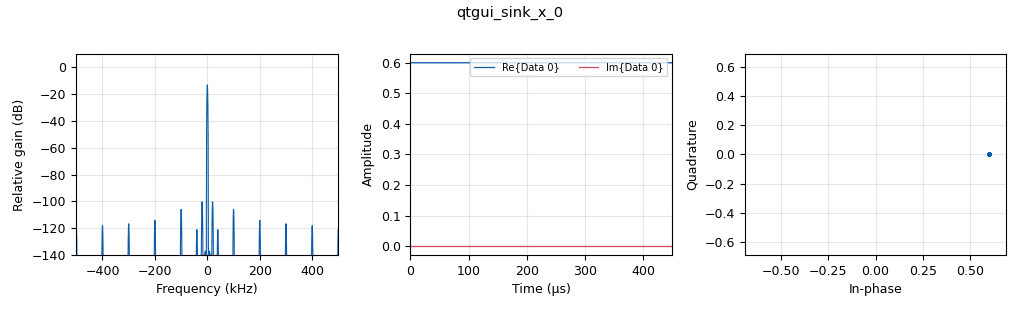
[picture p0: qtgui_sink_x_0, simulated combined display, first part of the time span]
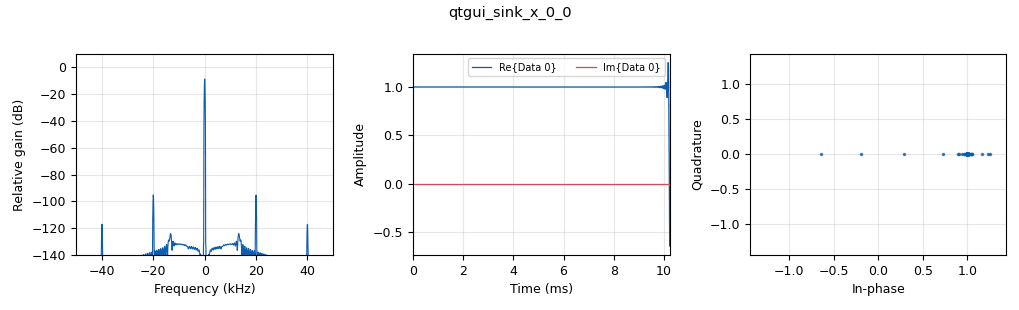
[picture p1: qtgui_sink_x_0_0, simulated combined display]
<?xml version='1.0' encoding='utf-8'?>
<?grc format='1' created='3.7.10'?>
<flow_graph>
<block>
<key>options</key>
<param><key>id</key><value>OverCable_Block</value></param>
<param><key>generate_options</key><value>qt_gui</value></param>
</block>
<block>
<key>variable</key>
<param><key>id</key><value>BB_samp_rate</value></param>
<param><key>value</key><value>100e3</value></param>
</block>
<block>
<key>variable</key>
<param><key>id</key><value>RF_samp_rate</value></param>
<param><key>value</key><value>1000e3</value></param>
</block>
<block>
<key>variable</key>
<param><key>id</key><value>baud_rate</value></param>
<param><key>value</key><value>20e3</value></param>
</block>
<block>
<key>variable</key>
<param><key>id</key><value>bb_bw</value></param>
<param><key>value</key><value>13e3</value></param>
</block>
<block>
<key>variable</key>
<param><key>id</key><value>const_points</value></param>
<param><key>value</key><value>2</value></param>
</block>
<block>
<key>variable</key>
<param><key>id</key><value>rf_bw</value></param>
<param><key>value</key><value>5e6</value></param>
</block>
<block>
<key>variable</key>
<param><key>id</key><value>rf_freq</value></param>
<param><key>value</key><value>1.630e9</value></param>
</block>
<block>
<key>variable</key>
<param><key>id</key><value>sps</value></param>
<param><key>value</key><value>int(BB_samp_rate/baud_rate)</value></param>
</block>
<block>
<key>Senior_Design_Preamble_Detection_py_bb</key>
<param><key>id</key><value>Senior_Design_Preamble_Detection_py_bb_0</value></param>
<param><key>Debug</key><value>True</value></param>
<param><key>Preamble</key><value>5</value></param>
</block>
<block>
<key>analog_random_uniform_source_x</key>
<param><key>id</key><value>analog_random_uniform_source_x_0</value></param>
<param><key>_enabled</key><value>0</value></param>
<param><key>maximum</key><value>256</value></param>
<param><key>minimum</key><value>0</value></param>
<param><key>type</key><value>byte</value></param>
<param><key>seed</key><value>41</value></param>
</block>
<block>
<key>analog_sig_source_x</key>
<param><key>id</key><value>analog_sig_source_x_0</value></param>
<param><key>amp</key><value>10</value></param>
<param><key>_enabled</key><value>0</value></param>
<param><key>freq</key><value>1000</value></param>
<param><key>offset</key><value>0</value></param>
<param><key>type</key><value>float</value></param>
<param><key>samp_rate</key><value>BB_samp_rate</value></param>
<param><key>waveform</key><value>analog.GR_COS_WAVE</value></param>
</block>
<block>
<key>blocks_char_to_float</key>
<param><key>id</key><value>blocks_char_to_float_0</value></param>
<param><key>_enabled</key><value>0</value></param>
<param><key>scale</key><value>1</value></param>
</block>
<block>
<key>blocks_char_to_float</key>
<param><key>id</key><value>blocks_char_to_float_0_0</value></param>
<param><key>_enabled</key><value>0</value></param>
<param><key>scale</key><value>1</value></param>
</block>
<block>
<key>blocks_char_to_float</key>
<param><key>id</key><value>blocks_char_to_float_1</value></param>
<param><key>_enabled</key><value>0</value></param>
<param><key>scale</key><value>1</value></param>
</block>
<block>
<key>blocks_file_sink</key>
<param><key>id</key><value>blocks_file_sink_0</value></param>
<param><key>file</key><value>/home/odroid/Desktop/WilliamsWork/qpsk_outputdata</value></param>
<param><key>type</key><value>byte</value></param>
</block>
<block>
<key>blocks_float_to_char</key>
<param><key>id</key><value>blocks_float_to_char_0</value></param>
<param><key>_enabled</key><value>0</value></param>
<param><key>scale</key><value>1</value></param>
</block>
<block>
<key>blocks_multiply_const_vxx</key>
<param><key>id</key><value>blocks_multiply_const_vxx_0_0_0</value></param>
<param><key>const</key><value>.6</value></param>
<param><key>type</key><value>complex</value></param>
</block>
<block>
<key>blocks_null_sink</key>
<param><key>id</key><value>blocks_null_sink_0</value></param>
<param><key>bus_conns</key><value>[[0,],]</value></param>
<param><key>_enabled</key><value>0</value></param>
<param><key>type</key><value>byte</value></param>
</block>
<block>
<key>blocks_pack_k_bits_bb</key>
<param><key>id</key><value>blocks_pack_k_bits_bb_0</value></param>
<param><key>_enabled</key><value>0</value></param>
<param><key>k</key><value>8</value></param>
</block>
<block>
<key>blocks_skiphead</key>
<param><key>id</key><value>blocks_skiphead_0</value></param>
<param><key>_enabled</key><value>0</value></param>
<param><key>num_items</key><value>7</value></param>
<param><key>type</key><value>byte</value></param>
</block>
<block>
<key>blocks_throttle</key>
<param><key>id</key><value>blocks_throttle_0</value></param>
<param><key>samples_per_second</key><value>RF_samp_rate</value></param>
<param><key>type</key><value>complex</value></param>
</block>
<block>
<key>blocks_udp_sink</key>
<param><key>id</key><value>blocks_udp_sink_0</value></param>
<param><key>ipaddr</key><value>127.0.0.1</value></param>
<param><key>port</key><value>20202</value></param>
<param><key>_enabled</key><value>0</value></param>
<param><key>type</key><value>byte</value></param>
<param><key>psize</key><value>1472</value></param>
<param><key>eof</key><value>True</value></param>
<param><key>vlen</key><value>1</value></param>
</block>
<block>
<key>blocks_udp_source</key>
<param><key>id</key><value>blocks_udp_source_0</value></param>
<param><key>_enabled</key><value>0</value></param>
<param><key>ipaddr</key><value>127.0.0.1</value></param>
<param><key>eof</key><value>False</value></param>
<param><key>type</key><value>byte</value></param>
<param><key>psize</key><value>1472</value></param>
<param><key>port</key><value>65000</value></param>
<param><key>vlen</key><value>1</value></param>
</block>
<block>
<key>blocks_vector_source_x</key>
<param><key>id</key><value>blocks_vector_source_x_0</value></param>
<param><key>type</key><value>byte</value></param>
<param><key>repeat</key><value>True</value></param>
<param><key>vector</key><value>(0,0,0,0,5,0,0,0,4,5,5,7,8,6,5,0,0,0,7,6,5,0,0,0,4,1,31,2,3,4,5,0,0,0,6,7,8,9,0,0,0,0,0,0,0,0,0,0,0,0,0,0,0,0,0,0,0,0,0,0,0,0,0,0)</value></param>
</block>
<block>
<key>correctiq_correctiq</key>
<param><key>id</key><value>correctiq_correctiq_0</value></param>
</block>
<block>
<key>digital_psk_demod</key>
<param><key>id</key><value>digital_psk_demod_0_0_0</value></param>
<param><key>differential</key><value>True</value></param>
<param><key>excess_bw</key><value>0.35</value></param>
<param><key>freq_bw</key><value>6.28/100.0</value></param>
<param><key>mod_code</key><value>"gray"</value></param>
<param><key>constellation_points</key><value>const_points</value></param>
<param><key>phase_bw</key><value>6.28/100.0</value></param>
<param><key>samples_per_symbol</key><value>sps</value></param>
<param><key>timing_bw</key><value>6.28/100.0</value></param>
</block>
<block>
<key>digital_psk_mod</key>
<param><key>id</key><value>digital_psk_mod_0_0_0</value></param>
<param><key>differential</key><value>True</value></param>
<param><key>excess_bw</key><value>0.35</value></param>
<param><key>mod_code</key><value>"gray"</value></param>
<param><key>constellation_points</key><value>const_points</value></param>
<param><key>samples_per_symbol</key><value>sps</value></param>
</block>
<block>
<key>osmosdr_sink</key>
<param><key>id</key><value>osmosdr_sink_0</value></param>
<param><key>ant0</key><value>BAND1</value></param>
<param><key>bb_gain0</key><value>30</value></param>
<param><key>bw0</key><value>rf_bw</value></param>
<param><key>freq0</key><value>rf_freq</value></param>
<param><key>if_gain0</key><value>30</value></param>
<param><key>gain0</key><value>-30</value></param>
<param><key>args</key><value>soapy=0,driver=lime,serial=0009070105C62E09</value></param>
<param><key>_enabled</key><value>0</value></param>
<param><key>type</key><value>fc32</value></param>
<param><key>sample_rate</key><value>RF_samp_rate</value></param>
<param><key>sync</key><value></value></param>
</block>
<block>
<key>osmosdr_source</key>
<param><key>id</key><value>osmosdr_source_0</value></param>
<param><key>ant0</key><value>LNAW</value></param>
<param><key>bb_gain0</key><value>10</value></param>
<param><key>bw0</key><value>rf_bw</value></param>
<param><key>freq0</key><value>rf_freq</value></param>
<param><key>gain_mode0</key><value>False</value></param>
<param><key>if_gain0</key><value>10</value></param>
<param><key>gain0</key><value>0</value></param>
<param><key>args</key><value>soapy=0,driver=lime,serial=0009061C02CF232D</value></param>
<param><key>_enabled</key><value>0</value></param>
<param><key>type</key><value>fc32</value></param>
<param><key>sample_rate</key><value>RF_samp_rate</value></param>
<param><key>sync</key><value></value></param>
</block>
<block>
<key>practice_tester_py_bb</key>
<param><key>id</key><value>practice_tester_py_bb_0</value></param>
<param><key>_enabled</key><value>0</value></param>
<param><key>multiple</key><value>5</value></param>
</block>
<block>
<key>qtgui_sink_x</key>
<param><key>id</key><value>qtgui_sink_x_0</value></param>
<param><key>bw</key><value>RF_samp_rate</value></param>
<param><key>fc</key><value>0</value></param>
<param><key>freqchangevar</key><value>None</value></param>
<param><key>fftsize</key><value>1024</value></param>
<param><key>showports</key><value>True</value></param>
<param><key>type</key><value>complex</value></param>
<param><key>wintype</key><value>firdes.WIN_BLACKMAN_hARRIS</value></param>
</block>
<block>
<key>qtgui_sink_x</key>
<param><key>id</key><value>qtgui_sink_x_0_0</value></param>
<param><key>bw</key><value>BB_samp_rate</value></param>
<param><key>fc</key><value>0</value></param>
<param><key>freqchangevar</key><value>None</value></param>
<param><key>fftsize</key><value>1024</value></param>
<param><key>showports</key><value>True</value></param>
<param><key>type</key><value>complex</value></param>
<param><key>wintype</key><value>firdes.WIN_BLACKMAN_hARRIS</value></param>
</block>
<block>
<key>qtgui_sink_x</key>
<param><key>id</key><value>qtgui_sink_x_0_0_0</value></param>
<param><key>bw</key><value>BB_samp_rate</value></param>
<param><key>fc</key><value>0</value></param>
<param><key>freqchangevar</key><value>None</value></param>
<param><key>_enabled</key><value>0</value></param>
<param><key>fftsize</key><value>1024</value></param>
<param><key>showports</key><value>True</value></param>
<param><key>type</key><value>complex</value></param>
<param><key>wintype</key><value>firdes.WIN_BLACKMAN_hARRIS</value></param>
</block>
<block>
<key>qtgui_time_sink_x</key>
<param><key>id</key><value>qtgui_time_sink_x_0</value></param>
<param><key>autoscale</key><value>True</value></param>
<param><key>_enabled</key><value>0</value></param>
<param><key>color1</key><value>"blue"</value></param>
<param><key>label1</key><value></value></param>
<param><key>size</key><value>1024</value></param>
<param><key>srate</key><value>BB_samp_rate</value></param>
<param><key>type</key><value>float</value></param>
</block>
<block>
<key>qtgui_time_sink_x</key>
<param><key>id</key><value>qtgui_time_sink_x_0_0</value></param>
<param><key>autoscale</key><value>True</value></param>
<param><key>_enabled</key><value>0</value></param>
<param><key>color1</key><value>"blue"</value></param>
<param><key>label1</key><value></value></param>
<param><key>size</key><value>1024</value></param>
<param><key>srate</key><value>BB_samp_rate</value></param>
<param><key>type</key><value>float</value></param>
</block>
<block>
<key>qtgui_time_sink_x</key>
<param><key>id</key><value>qtgui_time_sink_x_1</value></param>
<param><key>_enabled</key><value>0</value></param>
<param><key>color1</key><value>"blue"</value></param>
<param><key>label1</key><value></value></param>
<param><key>size</key><value>1024</value></param>
<param><key>srate</key><value>BB_samp_rate</value></param>
<param><key>type</key><value>float</value></param>
</block>
<block>
<key>rational_resampler_xxx</key>
<param><key>id</key><value>rational_resampler_xxx_0</value></param>
<param><key>decim</key><value>1</value></param>
<param><key>interp</key><value>int(RF_samp_rate/BB_samp_rate)</value></param>
<param><key>taps</key><value></value></param>
<param><key>type</key><value>ccc</value></param>
</block>
<block>
<key>rational_resampler_xxx</key>
<param><key>id</key><value>rational_resampler_xxx_0_0</value></param>
<param><key>decim</key><value>int(RF_samp_rate/BB_samp_rate)</value></param>
<param><key>interp</key><value>1</value></param>
<param><key>taps</key><value></value></param>
<param><key>type</key><value>ccc</value></param>
</block>
<connection><source_block_id>Senior_Design_Preamble_Detection_py_bb_0</source_block_id><sink_block_id>blocks_file_sink_0</sink_block_id><source_key>0</source_key><sink_key>0</sink_key></connection>
<connection><source_block_id>analog_random_uniform_source_x_0</source_block_id><sink_block_id>digital_psk_mod_0_0_0</sink_block_id><source_key>0</source_key><sink_key>0</sink_key></connection>
<connection><source_block_id>analog_sig_source_x_0</source_block_id><sink_block_id>blocks_float_to_char_0</sink_block_id><source_key>0</source_key><sink_key>0</sink_key></connection>
<connection><source_block_id>blocks_char_to_float_0</source_block_id><sink_block_id>qtgui_time_sink_x_0</sink_block_id><source_key>0</source_key><sink_key>0</sink_key></connection>
<connection><source_block_id>blocks_char_to_float_0_0</source_block_id><sink_block_id>qtgui_time_sink_x_1</sink_block_id><source_key>0</source_key><sink_key>0</sink_key></connection>
<connection><source_block_id>blocks_char_to_float_1</source_block_id><sink_block_id>qtgui_time_sink_x_0_0</sink_block_id><source_key>0</source_key><sink_key>0</sink_key></connection>
<connection><source_block_id>blocks_float_to_char_0</source_block_id><sink_block_id>blocks_char_to_float_1</sink_block_id><source_key>0</source_key><sink_key>0</sink_key></connection>
<connection><source_block_id>blocks_float_to_char_0</source_block_id><sink_block_id>digital_psk_mod_0_0_0</sink_block_id><source_key>0</source_key><sink_key>0</sink_key></connection>
<connection><source_block_id>blocks_multiply_const_vxx_0_0_0</source_block_id><sink_block_id>blocks_throttle_0</sink_block_id><source_key>0</source_key><sink_key>0</sink_key></connection>
<connection><source_block_id>blocks_multiply_const_vxx_0_0_0</source_block_id><sink_block_id>osmosdr_sink_0</sink_block_id><source_key>0</source_key><sink_key>0</sink_key></connection>
<connection><source_block_id>blocks_multiply_const_vxx_0_0_0</source_block_id><sink_block_id>qtgui_sink_x_0</sink_block_id><source_key>0</source_key><sink_key>0</sink_key></connection>
<connection><source_block_id>blocks_pack_k_bits_bb_0</source_block_id><sink_block_id>blocks_char_to_float_0</sink_block_id><source_key>0</source_key><sink_key>0</sink_key></connection>
<connection><source_block_id>blocks_skiphead_0</source_block_id><sink_block_id>blocks_pack_k_bits_bb_0</sink_block_id><source_key>0</source_key><sink_key>0</sink_key></connection>
<connection><source_block_id>blocks_throttle_0</source_block_id><sink_block_id>correctiq_correctiq_0</sink_block_id><source_key>0</source_key><sink_key>0</sink_key></connection>
<connection><source_block_id>blocks_vector_source_x_0</source_block_id><sink_block_id>digital_psk_mod_0_0_0</sink_block_id><source_key>0</source_key><sink_key>0</sink_key></connection>
<connection><source_block_id>correctiq_correctiq_0</source_block_id><sink_block_id>rational_resampler_xxx_0_0</sink_block_id><source_key>0</source_key><sink_key>0</sink_key></connection>
<connection><source_block_id>digital_psk_demod_0_0_0</source_block_id><sink_block_id>Senior_Design_Preamble_Detection_py_bb_0</sink_block_id><source_key>0</source_key><sink_key>0</sink_key></connection>
<connection><source_block_id>digital_psk_demod_0_0_0</source_block_id><sink_block_id>blocks_char_to_float_0_0</sink_block_id><source_key>0</source_key><sink_key>0</sink_key></connection>
<connection><source_block_id>digital_psk_demod_0_0_0</source_block_id><sink_block_id>blocks_skiphead_0</sink_block_id><source_key>0</source_key><sink_key>0</sink_key></connection>
<connection><source_block_id>digital_psk_demod_0_0_0</source_block_id><sink_block_id>practice_tester_py_bb_0</sink_block_id><source_key>0</source_key><sink_key>0</sink_key></connection>
<connection><source_block_id>digital_psk_mod_0_0_0</source_block_id><sink_block_id>qtgui_sink_x_0_0</sink_block_id><source_key>0</source_key><sink_key>0</sink_key></connection>
<connection><source_block_id>digital_psk_mod_0_0_0</source_block_id><sink_block_id>rational_resampler_xxx_0</sink_block_id><source_key>0</source_key><sink_key>0</sink_key></connection>
<connection><source_block_id>practice_tester_py_bb_0</source_block_id><sink_block_id>blocks_file_sink_0</sink_block_id><source_key>0</source_key><sink_key>0</sink_key></connection>
<connection><source_block_id>practice_tester_py_bb_0</source_block_id><sink_block_id>blocks_udp_sink_0</sink_block_id><source_key>0</source_key><sink_key>0</sink_key></connection>
<connection><source_block_id>rational_resampler_xxx_0</source_block_id><sink_block_id>blocks_multiply_const_vxx_0_0_0</sink_block_id><source_key>0</source_key><sink_key>0</sink_key></connection>
<connection><source_block_id>rational_resampler_xxx_0_0</source_block_id><sink_block_id>digital_psk_demod_0_0_0</sink_block_id><source_key>0</source_key><sink_key>0</sink_key></connection>
<connection><source_block_id>rational_resampler_xxx_0_0</source_block_id><sink_block_id>qtgui_sink_x_0_0_0</sink_block_id><source_key>0</source_key><sink_key>0</sink_key></connection>
</flow_graph>
